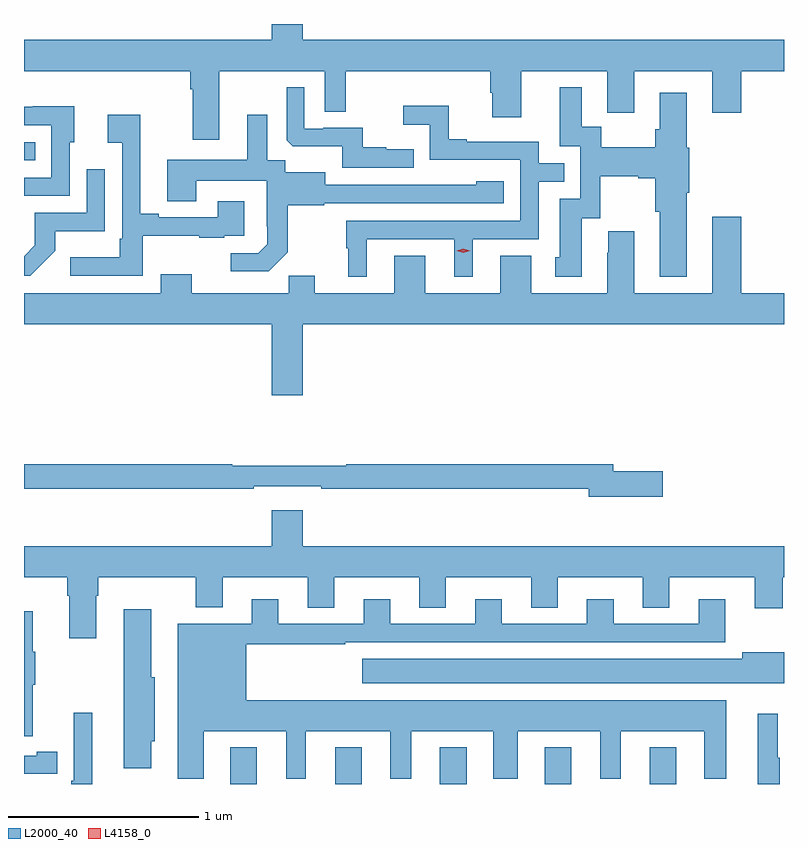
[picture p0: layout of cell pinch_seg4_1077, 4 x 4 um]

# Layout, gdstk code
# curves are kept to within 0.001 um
import gdstk
lib = gdstk.Library(unit=1e-6, precision=1e-09)
def R(c, l, rs):  # rectangles x0, y0, x1, y1
    for r in rs: c.add(gdstk.rectangle(r[:2], r[2:], *l))
def A(c, l, x, y, w, h, nx, ny, dx, dy):  # array of equal rectangles
    R(c, l, [(x+i*dx, y+j*dy, x+i*dx+w, y+j*dy+h) for i in range(nx) for j in range(ny)])
def P(c, l, *ps):  # polygons
    for p in ps: c.add(gdstk.Polygon(p, *l))
L2000_40 = (2000, 40)
L4158_0 = (4158, 0)

pinch_seg4_1077 = lib.new_cell('pinch_seg4_1077')
A(pinch_seg4_1077, L2000_40, 632.321, 826.368, 0.14, 0.193, 5, 1, 0.552, 0)
R(pinch_seg4_1077, L2000_40, [(631.236,829.65,631.295,829.746)])
P(pinch_seg4_1077, L2000_40, [(632.263,830.12),(632.82,830.12),(632.82,829.906),(632.929,829.906),(632.929,830.12),(633.689,830.12),(633.689,830.007),(633.701,830.007),(633.701,829.878),(633.853,829.878),(633.853,830.12),(634.307,830.12),(634.307,829.902),(634.447,829.902),(634.447,830.12),(634.859,830.12),(634.859,829.902),(635.012,829.902),(635.012,830.12),(635.236,830.12),(635.236,830.284),(632.704,830.284),(632.704,830.368),(632.54,830.368),(632.54,830.284),(631.236,830.284),(631.236,830.12),(632.111,830.12),(632.111,830.024),(632.123,830.024),(632.123,829.758),(632.263,829.758)],
  [(633.287,829.708),(633.143,829.708),(633.143,829.72),(633.02,829.72),(633.02,829.821),(632.812,829.821),(632.812,829.818),(632.712,829.818),(632.712,830.035),(632.619,830.035),(632.619,829.755),(632.651,829.724),(632.91,829.724),(632.91,829.611),(633.287,829.611)],
  [(634.723,829.479),(634.736,829.479),(634.736,829.716),(634.723,829.716),(634.723,830.005),(634.583,830.005),(634.583,829.815),(634.558,829.815),(634.558,829.72),(634.273,829.72),(634.273,829.826),(634.171,829.826),(634.171,830.035),(634.055,830.035),(634.055,829.725),(634.164,829.725),(634.164,829.449),(634.055,829.449),(634.055,829.14),(634.031,829.14),(634.031,829.038),(634.171,829.038),(634.171,829.346),(634.269,829.346),(634.269,829.568),(634.469,829.568),(634.469,829.556),(634.558,829.556),(634.558,829.379),(634.583,829.379),(634.583,829.037),(634.723,829.037)],
  [(633.04,829.236),(633.5,829.236),(633.5,829.037),(633.598,829.037),(633.598,829.236),(633.945,829.236),(633.945,829.539),(634.079,829.539),(634.079,829.635),(633.945,829.635),(633.945,829.749),(633.565,829.749),(633.565,829.762),(633.471,829.762),(633.471,829.937),(633.231,829.937),(633.231,829.838),(633.372,829.838),(633.372,829.653),(633.849,829.653),(633.849,829.332),(632.931,829.332),(632.931,829.188),(632.942,829.188),(632.942,829.037),(633.04,829.037)],
  [(631.476,829.746),(631.501,829.746),(631.501,829.934),(631.283,829.934),(631.283,829.932),(631.236,829.932),(631.236,829.836),(631.38,829.836),(631.38,829.56),(631.236,829.56),(631.236,829.464),(631.476,829.464)],
  [(631.861,829.253),(632.159,829.253),(632.159,829.242),(632.291,829.242),(632.291,829.254),(632.395,829.254),(632.395,829.435),(632.255,829.435),(632.255,829.35),(631.945,829.35),(631.945,829.369),(631.849,829.369),(631.849,829.891),(631.677,829.891),(631.677,829.742),(631.752,829.742),(631.752,829.237),(631.74,829.237),(631.74,829.141),(631.479,829.141),(631.479,829.044),(631.861,829.044)],
  [(632.625,829.167),(632.625,829.413),(632.817,829.413),(632.817,829.425),(633.76,829.425),(633.76,829.54),(633.615,829.54),(633.615,829.522),(632.821,829.521),(632.821,829.588),(632.61,829.588),(632.61,829.652),(632.515,829.652),(632.515,829.891),(632.411,829.891),(632.411,829.654),(631.991,829.654),(631.991,829.435),(632.143,829.435),(632.143,829.544),(632.514,829.544),(632.514,829.303),(632.516,829.303),(632.516,829.208),(632.469,829.161),(632.325,829.161),(632.325,829.067),(632.525,829.067)],
  [(631.401,829.175),(631.401,829.277),(631.662,829.277),(631.662,829.603),(631.566,829.603),(631.566,829.374),(631.293,829.374),(631.293,829.203),(631.236,829.146),(631.236,829.044),(631.27,829.044)],
  [(632.704,828.788),(635.236,828.788),(635.236,828.952),(635.012,828.952),(635.012,829.354),(634.859,829.354),(634.859,828.952),(634.447,828.952),(634.447,829.276),(634.31,829.276),(634.31,829.163),(634.307,829.163),(634.307,828.952),(633.907,828.952),(633.907,829.147),(633.743,829.147),(633.743,828.952),(633.349,828.952),(633.349,829.147),(633.185,829.147),(633.185,828.952),(632.767,828.952),(632.767,829.043),(632.629,829.043),(632.629,828.952),(632.119,828.952),(632.119,829.051),(631.955,829.051),(631.955,828.952),(631.236,828.952),(631.236,828.788),(632.54,828.788),(632.54,828.414),(632.704,828.414)],
  [(634.597,828.014),(634.336,828.014),(634.336,828.05),(632.932,828.05),(632.932,828.043),(632.332,828.043),(632.332,828.05),(631.236,828.05),(631.236,827.922),(632.444,827.922),(632.444,827.934),(632.8,827.934),(632.8,827.922),(634.208,827.922),(634.208,827.879),(634.597,827.879)],
  [(631.615,827.36),(631.628,827.36),(631.628,827.456),(632.141,827.456),(632.141,827.297),(632.281,827.297),(632.281,827.456),(632.729,827.456),(632.729,827.296),(632.869,827.296),(632.869,827.456),(633.317,827.456),(633.317,827.296),(633.457,827.296),(633.457,827.456),(633.905,827.456),(633.905,827.296),(634.045,827.296),(634.045,827.456),(634.493,827.456),(634.493,827.296),(634.633,827.296),(634.633,827.456),(635.081,827.456),(635.081,827.292),(635.229,827.292),(635.229,827.456),(635.236,827.456),(635.236,827.62),(632.704,827.62),(632.704,827.809),(632.54,827.809),(632.54,827.62),(631.236,827.62),(631.236,827.456),(631.463,827.456),(631.463,827.36),(631.475,827.36),(631.475,827.136),(631.615,827.136)],
  [(632.182,826.646),(632.615,826.646),(632.615,826.395),(632.719,826.395),(632.719,826.646),(633.164,826.646),(633.164,826.395),(633.274,826.395),(633.274,826.646),(633.707,826.646),(633.707,826.395),(633.835,826.395),(633.835,826.646),(634.268,826.646),(634.268,826.395),(634.378,826.395),(634.378,826.646),(634.817,826.646),(634.817,826.395),(634.933,826.395),(634.933,826.81),(632.407,826.81),(632.407,827.103),(632.927,827.103),(632.927,827.115),(634.927,827.115),(634.927,827.341),(634.787,827.341),(634.787,827.211),(634.339,827.211),(634.339,827.341),(634.199,827.341),(634.199,827.211),(633.751,827.211),(633.751,827.341),(633.611,827.341),(633.611,827.211),(633.163,827.211),(633.163,827.341),(633.023,827.341),(633.023,827.211),(632.575,827.211),(632.575,827.341),(632.435,827.341),(632.435,827.212),(632.045,827.212),(632.045,826.395),(632.182,826.395)],
  [(631.906,826.593),(631.924,826.593),(631.924,826.929),(631.906,826.929),(631.906,827.287),(631.76,827.287),(631.76,826.452),(631.906,826.452)],
  [(631.283,826.891),(631.294,826.891),(631.294,827.065),(631.283,827.065),(631.283,827.278),(631.236,827.278),(631.236,826.62),(631.283,826.62)],
  [(635.236,827.062),(635.015,827.062),(635.015,827.026),(633.015,827.026),(633.015,826.898),(635.236,826.898)],
  [(631.594,826.744),(631.497,826.744),(631.497,826.384),(631.484,826.384),(631.484,826.368),(631.594,826.368)],
  [(635.213,826.505),(635.203,826.505),(635.203,826.738),(635.099,826.738),(635.099,826.368),(635.213,826.368)],
  [(631.304,826.422),(631.412,826.422),(631.412,826.538),(631.304,826.538),(631.304,826.518),(631.236,826.518),(631.236,826.421),(631.304,826.421)])
P(pinch_seg4_1077, L4158_0, [(633.549,829.164),(633.514,829.174),(633.513,829.174),(633.514,829.175),(633.549,829.184),(633.584,829.175),(633.585,829.174),(633.584,829.174)])

lib.write_gds('pinch_seg4_1077.gds')
